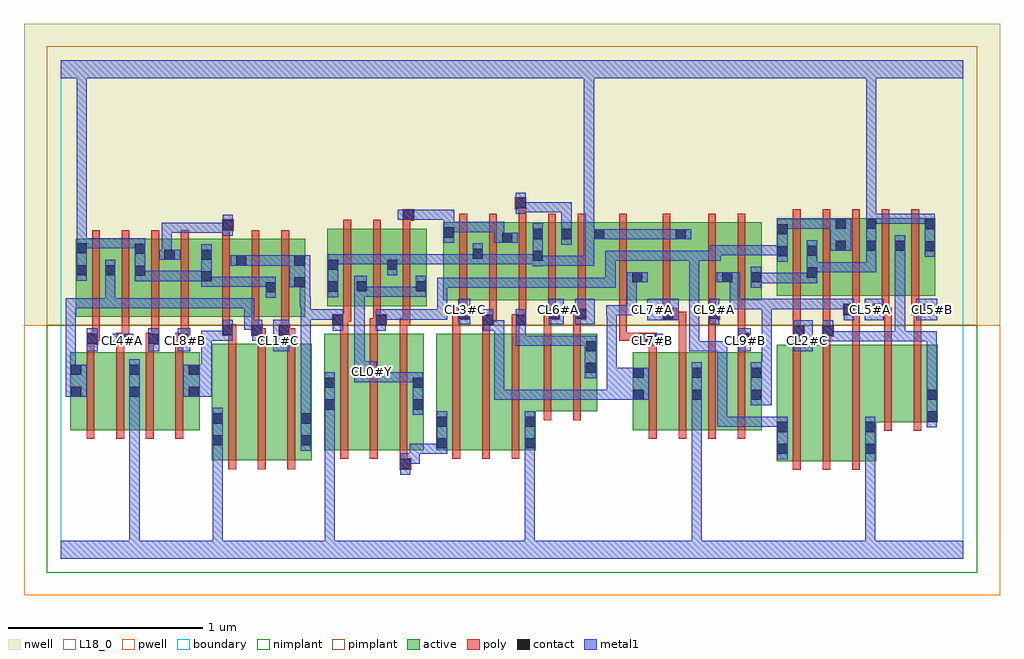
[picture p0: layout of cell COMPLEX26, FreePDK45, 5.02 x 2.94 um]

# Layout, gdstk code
import gdstk
lib = gdstk.Library(unit=1e-6, precision=1e-09)
def R(c, l, rs):  # rectangles x0, y0, x1, y1
    for r in rs: c.add(gdstk.rectangle(r[:2], r[2:], *l))
def A(c, l, x, y, w, h, nx, ny, dx, dy):  # array of equal rectangles
    R(c, l, [(x+i*dx, y+j*dy, x+i*dx+w, y+j*dy+h) for i in range(nx) for j in range(ny)])
active = (1, 0)
pwell = (2, 0)
nwell = (3, 0)
nimplant = (4, 0)
pimplant = (5, 0)
poly = (9, 0)
contact = (10, 0)
metal1 = (11, 0)
L18_0 = (18, 0)
boundary = (235, 0)

complex26 = lib.new_cell('COMPLEX26')
A(complex26, active, 0.226, 1.244, 0.06, 0.4, 3, 1, 0.152, 0)
R(complex26, active, [(3.68,0.5,3.86,1.1), (3.86,0.5,4.012,1.1), (4.012,0.5,4.192,1.1), (0.778,0.504,0.958,1.104), (0.778,0.504,0.838,1.104), (0.958,0.504,1.11,1.104), (1.11,0.504,1.29,1.104), (1.23,0.504,1.29,1.104), (3.68,0.534,3.74,1.1), (4.132,0.534,4.192,1.1), (1.354,0.556,1.534,1.156), (1.354,0.556,1.414,1.156), (1.534,0.556,1.686,1.156), (1.686,0.556,1.866,1.156), (1.806,0.556,1.866,1.156), (1.93,0.556,2.11,1.156), (1.93,0.556,1.99,1.156), (2.11,0.556,2.262,1.156), (2.262,0.556,2.442,1.156), (2.382,0.556,2.442,0.756), (0.05,0.66,0.23,1.06), (0.23,0.66,0.41,1.06), (0.35,0.66,0.534,1.06), (0.534,0.66,0.714,1.06), (2.94,0.66,3.12,1.06), (3.12,0.66,3.3,1.06), (3.24,0.66,3.424,1.06), (3.424,0.66,3.604,1.06), (4.132,0.7,4.328,1.1), (4.328,0.7,4.508,1.1), (4.448,0.7,4.508,1.1), (0.05,0.756,0.11,1.06), (0.35,0.756,0.41,1), (0.654,0.756,0.714,1.06), (2.382,0.756,2.578,1.156), (2.578,0.756,2.758,1.156), (2.698,0.756,2.758,1.156), (2.94,0.756,3,1.06), (3.24,0.756,3.3,0.984), (3.544,0.756,3.604,1.06), (0.078,1.244,0.138,1.644), (0.078,1.244,0.286,1.644), (0.226,1.244,0.438,1.644), (0.378,1.244,0.59,1.644), (0.53,1.244,0.78,1.644), (0.72,1.244,0.78,1.644), (0.72,1.244,0.958,1.644), (0.898,1.244,0.958,1.644), (0.898,1.244,1.11,1.644), (1.05,1.244,1.11,1.644), (1.05,1.244,1.258,1.644), (1.198,1.244,1.258,1.644), (1.37,1.296,1.578,1.696), (1.37,1.296,1.43,1.644), (1.518,1.296,1.734,1.696), (1.518,1.296,1.578,1.644), (1.674,1.296,1.882,1.696), (1.674,1.296,1.734,1.644), (1.822,1.296,1.882,1.644), (1.966,1.328,2.174,1.728), (2.114,1.328,2.326,1.728), (2.114,1.328,2.174,1.644), (2.266,1.328,2.326,1.728), (2.266,1.328,2.482,1.728), (2.422,1.328,2.63,1.728), (2.422,1.328,2.482,1.698), (2.57,1.328,2.63,1.728), (2.57,1.328,2.798,1.728), (2.738,1.328,2.994,1.728), (2.738,1.328,2.798,1.696), (2.934,1.328,2.994,1.644), (2.934,1.328,3.218,1.728), (3.158,1.328,3.218,1.728), (3.158,1.328,3.456,1.728), (3.396,1.328,3.604,1.728), (3.396,1.328,3.456,1.644), (3.544,1.328,3.604,1.728), (3.68,1.35,3.74,1.75), (3.68,1.35,3.892,1.75), (3.832,1.35,4.04,1.75), (3.832,1.35,3.892,1.644), (3.98,1.35,4.04,1.75), (3.98,1.35,4.196,1.75), (4.136,1.35,4.344,1.75), (4.284,1.35,4.344,1.75), (4.284,1.35,4.496,1.75), (4.436,1.35,4.496,1.748), (1.966,1.452,2.026,1.728), (4.136,1.578,4.196,1.75)])
R(complex26, pwell, [(-0.188,-0.188,4.828,1.2)])
R(complex26, nwell, [(-0.188,1.2,4.828,2.748)])
R(complex26, nimplant, [(-0.072,-0.072,4.712,1.2)])
R(complex26, pimplant, [(-0.072,1.2,4.712,2.632)])
A(complex26, poly, 3.764, 0.456, 0.04, 0.688, 3, 1, 0.152, 0)
A(complex26, poly, 0.862, 0.46, 0.04, 0.688, 3, 1, 0.152, 0)
A(complex26, poly, 1.438, 0.512, 0.04, 0.688, 3, 1, 0.152, 0)
A(complex26, poly, 2.014, 0.512, 0.04, 0.688, 3, 1, 0.152, 0)
A(complex26, poly, 0.134, 0.616, 0.04, 0.488, 4, 1, 0.152, 0)
A(complex26, poly, 3.024, 0.616, 0.04, 0.488, 4, 1, 0.152, 0)
A(complex26, poly, 0.134, 1.064, 0.04, 0.076, 4, 1, 0.152, 0)
A(complex26, poly, 0.862, 1.108, 0.04, 0.076, 3, 1, 0.152, 0)
A(complex26, poly, 0.154, 1.12, 0.04, 0.04, 3, 1, 0.156, 0)
A(complex26, poly, 0.162, 1.12, 0.04, 0.12, 4, 1, 0.152, 0)
A(complex26, poly, 1.438, 1.16, 0.04, 0.076, 3, 1, 0.152, 0)
A(complex26, poly, 0.83, 1.164, 0.04, 0.076, 3, 1, 0.152, 0)
A(complex26, poly, 0.162, 1.2, 0.04, 0.488, 4, 1, 0.152, 0)
A(complex26, poly, 0.83, 1.2, 0.04, 0.488, 3, 1, 0.152, 0)
A(complex26, poly, 1.454, 1.252, 0.04, 0.488, 3, 1, 0.152, 0)
A(complex26, poly, 4.068, 1.27, 0.04, 0.076, 3, 1, 0.152, 0)
A(complex26, poly, 2.05, 1.284, 0.04, 0.488, 5, 1, 0.152, 0)
A(complex26, poly, 3.764, 1.306, 0.04, 0.488, 5, 1, 0.152, 0)
R(complex26, poly, [(1.742,0.456,1.802,0.516), (1.742,0.476,1.782,0.552), (4.232,0.656,4.272,1.144), (4.384,0.656,4.424,1.144), (2.482,0.712,2.522,1.2), (2.634,0.712,2.674,1.2), (3.024,1.064,3.064,1.14), (3.176,1.064,3.216,1.268), (3.328,1.064,3.368,1.268), (3.48,1.064,3.52,1.14), (0.134,1.1,0.194,1.16), (0.286,1.1,0.35,1.16), (0.438,1.1,0.506,1.16), (0.59,1.1,0.658,1.16), (2.988,1.1,3.064,1.16), (3.48,1.1,3.54,1.16), (3.764,1.104,3.804,1.18), (3.916,1.104,3.956,1.18), (4.068,1.104,4.108,1.29), (4.232,1.104,4.272,1.29), (4.384,1.104,4.424,1.29), (0.154,1.12,0.202,1.16), (0.31,1.12,0.354,1.16), (0.466,1.12,0.506,1.16), (0.618,1.12,0.658,1.16), (0.618,1.12,0.658,1.16), (2.87,1.12,2.91,1.324), (2.87,1.12,3.028,1.16), (2.988,1.12,3.028,1.16), (3.48,1.12,3.52,1.16), (3.48,1.12,3.52,1.16), (3.48,1.12,3.52,1.324), (3.764,1.14,3.824,1.2), (3.914,1.14,3.974,1.2), (0.83,1.144,0.902,1.204), (0.98,1.144,1.04,1.204), (1,1.144,1.04,1.184), (1,1.144,1.054,1.184), (1.12,1.144,1.18,1.204), (1.14,1.144,1.18,1.184), (1.14,1.144,1.206,1.184), (2.014,1.16,2.054,1.268), (2.166,1.16,2.206,1.236), (2.318,1.16,2.358,1.236), (2.482,1.16,2.522,1.268), (2.634,1.16,2.674,1.268), (3.764,1.16,3.804,1.2), (3.764,1.16,3.804,1.2), (3.764,1.16,3.804,1.346), (3.916,1.16,3.956,1.2), (3.916,1.16,3.956,1.2), (3.916,1.16,3.956,1.346), (0.83,1.164,0.87,1.204), (0.83,1.164,0.87,1.204), (1.396,1.196,1.478,1.256), (1.59,1.196,1.646,1.236), (1.606,1.196,1.646,1.236), (1.606,1.196,1.676,1.256), (1.742,1.196,1.798,1.236), (1.758,1.196,1.798,1.236), (1.758,1.196,1.798,1.236), (1.758,1.196,1.798,1.292), (2.166,1.196,2.228,1.256), (2.318,1.196,2.394,1.256), (1.438,1.216,1.478,1.256), (1.438,1.216,1.494,1.256), (1.454,1.216,1.494,1.292), (1.606,1.216,1.646,1.292), (2.188,1.216,2.228,1.256), (2.188,1.216,2.242,1.256), (2.202,1.216,2.242,1.324), (2.354,1.216,2.394,1.256), (2.354,1.216,2.394,1.256), (2.354,1.216,2.394,1.324), (2.014,1.228,2.1,1.288), (2.482,1.228,2.546,1.268), (2.506,1.228,2.546,1.268), (2.506,1.228,2.566,1.288), (2.634,1.228,2.682,1.268), (2.642,1.228,2.682,1.268), (2.642,1.228,2.702,1.288), (3.094,1.228,3.17,1.288), (3.13,1.228,3.17,1.268), (3.13,1.228,3.216,1.268), (3.328,1.228,3.368,1.268), (3.328,1.228,3.368,1.268), (3.328,1.228,3.39,1.288), (2.05,1.248,2.09,1.324), (2.05,1.248,2.09,1.288), (2.05,1.248,2.09,1.288), (2.506,1.248,2.546,1.324), (2.658,1.248,2.698,1.324), (3.094,1.248,3.134,1.324), (3.328,1.248,3.368,1.324), (4.022,1.25,4.108,1.31), (4.068,1.25,4.108,1.29), (4.068,1.25,4.108,1.29), (4.174,1.25,4.26,1.31), (4.22,1.25,4.26,1.29), (4.22,1.25,4.272,1.29), (4.372,1.25,4.454,1.31), (4.384,1.25,4.424,1.29), (4.384,1.25,4.424,1.29), (2.87,1.284,2.91,1.772), (3.094,1.284,3.134,1.772), (3.328,1.284,3.368,1.772), (3.48,1.284,3.52,1.772), (0.83,1.648,0.87,1.724), (0.83,1.684,0.89,1.744), (1.758,1.7,1.798,1.776), (2.354,1.732,2.394,1.836), (1.758,1.736,1.818,1.796), (2.334,1.796,2.394,1.856)])
A(complex26, contact, 0.138, 1.104, 0.052, 0.052, 3, 1, 0.156, 0)
R(complex26, contact, [(1.746,0.46,1.798,0.512), (3.684,0.538,3.736,0.59), (4.136,0.538,4.188,0.59), (1.934,0.566,1.986,0.618), (2.386,0.566,2.438,0.618), (0.782,0.582,0.834,0.634), (1.234,0.582,1.286,0.634), (3.684,0.65,3.736,0.702), (4.136,0.65,4.188,0.702), (1.934,0.678,1.986,0.73), (2.386,0.678,2.438,0.73), (0.782,0.694,0.834,0.746), (1.234,0.694,1.286,0.746), (4.452,0.704,4.504,0.756), (1.358,0.766,1.41,0.818), (1.81,0.766,1.862,0.818), (2.944,0.816,2.996,0.868), (3.244,0.816,3.296,0.868), (3.548,0.816,3.6,0.868), (4.452,0.816,4.504,0.868), (0.054,0.832,0.106,0.884), (0.354,0.832,0.406,0.884), (0.658,0.832,0.71,0.884), (1.358,0.878,1.41,0.93), (1.81,0.878,1.862,0.93), (2.944,0.928,2.996,0.98), (3.244,0.928,3.296,0.98), (3.548,0.928,3.6,0.98), (0.054,0.944,0.106,0.996), (0.354,0.944,0.406,0.996), (0.658,0.944,0.71,0.996), (2.702,0.954,2.754,1.006), (2.702,1.066,2.754,1.118), (0.602,1.104,0.654,1.156), (3.008,1.104,3.06,1.156), (3.484,1.104,3.536,1.156), (3.768,1.144,3.82,1.196), (3.918,1.144,3.97,1.196), (0.834,1.148,0.886,1.2), (0.984,1.148,1.036,1.2), (1.124,1.148,1.176,1.2), (1.4,1.2,1.452,1.252), (1.62,1.2,1.672,1.252), (2.172,1.2,2.224,1.252), (2.338,1.2,2.39,1.252), (2.044,1.232,2.096,1.284), (2.51,1.232,2.562,1.284), (2.646,1.232,2.698,1.284), (3.098,1.232,3.15,1.284), (3.334,1.232,3.386,1.284), (4.026,1.254,4.078,1.306), (4.178,1.254,4.23,1.306), (4.398,1.254,4.45,1.306), (1.054,1.368,1.106,1.42), (1.374,1.372,1.426,1.424), (1.522,1.374,1.574,1.426), (1.826,1.374,1.878,1.426), (1.202,1.394,1.254,1.446), (2.938,1.42,2.99,1.472), (3.4,1.42,3.452,1.472), (3.548,1.42,3.6,1.472), (0.724,1.424,0.776,1.476), (3.836,1.444,3.888,1.496), (0.382,1.454,0.434,1.506), (0.082,1.456,0.134,1.508), (0.23,1.456,0.282,1.508), (1.374,1.484,1.426,1.536), (1.678,1.484,1.73,1.536), (0.902,1.506,0.954,1.558), (1.202,1.506,1.254,1.558), (2.426,1.53,2.478,1.582), (0.534,1.536,0.586,1.588), (0.724,1.536,0.776,1.588), (2.118,1.54,2.17,1.592), (3.684,1.554,3.736,1.606), (3.836,1.556,3.888,1.608), (0.382,1.566,0.434,1.618), (0.082,1.568,0.134,1.62), (4.44,1.58,4.492,1.632), (3.984,1.582,4.036,1.634), (4.14,1.582,4.192,1.634), (4.288,1.582,4.34,1.634), (2.27,1.622,2.322,1.674), (2.742,1.64,2.794,1.692), (3.162,1.64,3.214,1.692), (2.426,1.642,2.478,1.694), (2.574,1.642,2.626,1.694), (1.97,1.65,2.022,1.702), (3.684,1.666,3.736,1.718), (0.834,1.688,0.886,1.74), (4.44,1.692,4.492,1.744), (3.984,1.694,4.036,1.746), (4.14,1.694,4.192,1.746), (1.762,1.74,1.814,1.792), (2.338,1.8,2.39,1.852)])
A(complex26, metal1, 0.724, 1.396, 0.162, 0.052, 3, 1, 0.11, 0)
R(complex26, metal1, [(0,0,4.64,0.092), (0.354,0.04,0.406,0.856), (0.782,0.04,0.834,0.092), (0.782,0.04,0.834,0.092), (0.782,0.04,0.834,0.092), (0.782,0.04,0.834,0.092), (0.782,0.04,0.834,0.092), (0.782,0.04,0.834,0.092), (0.782,0.04,0.834,0.092), (0.782,0.04,0.834,0.092), (0.782,0.04,0.834,0.606), (1.358,0.04,1.41,0.092), (1.358,0.04,1.41,0.092), (1.358,0.04,1.41,0.092), (1.358,0.04,1.41,0.092), (1.358,0.04,1.41,0.092), (1.358,0.04,1.41,0.092), (1.358,0.04,1.41,0.092), (1.358,0.04,1.41,0.092), (1.358,0.04,1.41,0.79), (2.386,0.04,2.438,0.59), (3.244,0.04,3.296,0.092), (3.244,0.04,3.296,0.092), (3.244,0.04,3.296,0.84), (4.136,0.04,4.188,0.092), (4.136,0.04,4.188,0.092), (4.136,0.04,4.188,0.092), (4.136,0.04,4.188,0.092), (4.136,0.04,4.188,0.092), (4.136,0.04,4.188,0.092), (4.136,0.04,4.188,0.092), (4.136,0.04,4.188,0.092), (4.136,0.04,4.188,0.562), (1.746,0.432,1.798,0.54), (1.746,0.488,1.846,0.54), (1.794,0.488,1.846,0.54), (1.794,0.488,1.846,0.59), (3.684,0.51,3.736,0.73), (4.136,0.51,4.188,0.73), (1.794,0.538,1.846,0.59), (1.794,0.538,1.986,0.59), (1.934,0.538,1.986,0.758), (2.386,0.538,2.438,0.59), (2.386,0.538,2.438,0.59), (2.386,0.538,2.438,0.59), (2.386,0.538,2.438,0.59), (2.386,0.538,2.438,0.59), (2.386,0.538,2.438,0.59), (2.386,0.538,2.438,0.59), (2.386,0.538,2.438,0.59), (2.386,0.538,2.438,0.758), (0.782,0.554,0.834,0.774), (1.234,0.554,1.286,0.774), (4.452,0.676,4.504,0.896), (3.374,0.678,3.426,0.73), (3.374,0.678,3.6,0.73), (3.374,0.678,3.426,1.118), (3.548,0.678,3.6,0.73), (3.548,0.678,3.6,0.73), (3.548,0.678,3.6,0.73), (3.548,0.678,3.736,0.73), (1.234,0.722,1.286,1.28), (1.358,0.738,1.41,0.958), (1.81,0.738,1.862,0.958), (3.244,0.788,3.296,0.84), (3.244,0.788,3.296,0.84), (3.244,0.788,3.296,0.84), (3.244,0.788,3.296,0.84), (3.244,0.788,3.296,0.84), (3.244,0.788,3.296,0.84), (3.244,0.788,3.296,0.84), (3.244,0.788,3.296,0.84), (3.244,0.788,3.296,0.84), (3.244,0.788,3.296,0.84), (3.244,0.788,3.296,1.008), (3.548,0.788,3.656,1.008), (0.354,0.804,0.406,0.856), (0.354,0.804,0.406,0.856), (0.354,0.804,0.406,0.856), (0.354,0.804,0.406,0.856), (0.354,0.804,0.406,0.856), (0.354,0.804,0.406,0.856), (0.354,0.804,0.406,0.856), (0.354,0.804,0.406,0.856), (0.354,0.804,0.406,0.856), (0.354,0.804,0.406,0.856), (0.354,0.804,0.406,0.856), (0.354,0.804,0.406,0.856), (0.354,0.804,0.406,1.024), (2.228,0.816,2.28,0.868), (2.228,0.816,2.39,0.868), (2.228,0.816,2.28,1.224), (2.338,0.816,2.39,0.868), (2.338,0.816,2.39,0.868), (2.338,0.816,2.39,0.868), (2.338,0.816,2.588,0.868), (2.536,0.816,2.588,0.868), (2.536,0.816,2.588,0.868), (2.536,0.816,2.588,0.868), (2.536,0.816,2.588,0.868), (2.536,0.816,2.588,0.868), (2.536,0.816,2.698,0.868), (2.646,0.816,2.698,0.868), (2.646,0.816,2.698,0.868), (2.646,0.816,2.698,0.868), (2.646,0.816,2.858,0.868), (2.806,0.816,3.024,0.98), (0.026,0.832,0.134,0.996), (0.63,0.832,0.776,0.996), (4.452,0.844,4.504,1.168), (1.51,0.906,1.626,1.014), (1.574,0.906,1.626,0.958), (1.574,0.906,1.626,0.958), (1.574,0.906,1.736,0.958), (1.684,0.906,1.736,0.958), (1.684,0.906,1.862,0.958), (1.81,0.906,1.862,0.958), (1.81,0.906,1.862,0.958), (1.81,0.906,1.862,0.958), (1.81,0.906,1.862,0.958), (2.694,0.926,2.754,1.146), (2.806,0.928,2.858,1.302), (0.026,0.944,0.078,1.338), (0.724,0.944,0.776,1.172), (3.604,0.956,3.656,1.008), (3.604,0.956,3.656,1.008), (3.604,0.956,3.656,1.334), (1.51,0.962,1.562,1.014), (1.51,0.962,1.562,1.014), (1.51,0.962,1.562,1.398), (0.134,1.066,0.19,1.184), (0.45,1.066,0.506,1.184), (0.602,1.066,0.666,1.184), (1.094,1.066,1.176,1.228), (3.23,1.066,3.282,1.118), (3.23,1.066,3.426,1.118), (3.23,1.066,3.282,1.582), (3.374,1.066,3.426,1.118), (3.374,1.066,3.426,1.118), (3.374,1.066,3.426,1.118), (3.374,1.066,3.426,1.118), (3.374,1.066,3.426,1.118), (3.484,1.066,3.546,1.184), (3.768,1.066,3.866,1.224), (0.266,1.094,0.374,1.156), (2.338,1.094,2.39,1.224), (2.338,1.094,2.588,1.146), (2.536,1.094,2.588,1.146), (2.536,1.094,2.588,1.146), (2.536,1.094,2.588,1.146), (2.536,1.094,2.698,1.146), (2.646,1.094,2.698,1.146), (2.646,1.094,2.746,1.146), (2.694,1.094,2.746,1.146), (2.694,1.094,2.746,1.146), (2.98,1.094,3.094,1.156), (3.918,1.116,3.97,1.224), (3.918,1.116,4.078,1.168), (4.026,1.116,4.078,1.168), (4.026,1.116,4.078,1.168), (4.026,1.116,4.078,1.168), (4.026,1.116,4.23,1.168), (4.178,1.116,4.23,1.168), (4.178,1.116,4.23,1.168), (4.178,1.116,4.23,1.168), (4.178,1.116,4.34,1.168), (4.288,1.116,4.34,1.168), (4.288,1.116,4.34,1.168), (4.288,1.116,4.34,1.168), (4.288,1.116,4.504,1.168), (4.288,1.116,4.34,1.606), (4.452,1.116,4.504,1.168), (4.452,1.116,4.504,1.168), (4.452,1.116,4.504,1.168), (0.724,1.12,0.776,1.172), (0.724,1.12,0.776,1.172), (0.724,1.12,0.776,1.172), (0.724,1.12,0.886,1.172), (0.834,1.12,0.886,1.228), (0.984,1.12,1.036,1.228), (1.4,1.172,1.452,1.28), (1.62,1.172,1.672,1.28), (2.172,1.172,2.224,1.28), (2.172,1.172,2.28,1.224), (2.228,1.172,2.28,1.224), (2.338,1.172,2.39,1.224), (2.338,1.172,2.39,1.28), (0.944,1.176,0.996,1.338), (0.944,1.176,1.036,1.228), (2.044,1.204,2.106,1.334), (2.51,1.204,2.586,1.334), (2.646,1.204,2.746,1.334), (3.334,1.204,3.386,1.334), (3.014,1.226,3.178,1.334), (4.026,1.226,4.078,1.334), (4.134,1.226,4.23,1.334), (4.398,1.226,4.506,1.334), (1.234,1.228,1.286,1.28), (1.234,1.228,1.286,1.28), (1.234,1.228,1.286,1.28), (1.234,1.228,1.452,1.28), (1.234,1.228,1.286,1.346), (1.4,1.228,1.452,1.28), (1.4,1.228,1.452,1.28), (1.62,1.228,1.736,1.28), (1.684,1.228,1.736,1.28), (1.684,1.228,1.846,1.28), (1.794,1.228,1.846,1.28), (1.794,1.228,1.846,1.28), (1.794,1.228,1.846,1.28), (1.794,1.228,1.988,1.28), (1.936,1.228,1.988,1.444), (2.804,1.25,2.856,1.302), (2.804,1.25,2.856,1.302), (2.804,1.25,2.932,1.302), (2.804,1.25,2.858,1.302), (2.806,1.25,2.858,1.302), (2.806,1.25,2.858,1.302), (2.88,1.25,2.932,1.302), (2.88,1.25,2.962,1.302), (2.91,1.25,2.962,1.302), (2.91,1.25,2.962,1.472), (3.438,1.282,3.49,1.334), (3.438,1.282,3.536,1.334), (3.438,1.282,3.49,1.472), (3.484,1.282,3.536,1.334), (3.484,1.282,3.656,1.334), (3.604,1.282,3.656,1.334), (3.604,1.282,3.778,1.334), (3.726,1.282,3.778,1.334), (3.726,1.282,3.778,1.334), (3.726,1.282,3.778,1.334), (3.726,1.282,3.898,1.334), (3.846,1.282,3.898,1.334), (3.846,1.282,3.898,1.334), (3.846,1.282,3.898,1.334), (3.846,1.282,4.008,1.334), (3.956,1.282,4.008,1.334), (3.956,1.282,4.078,1.334), (0.026,1.286,0.078,1.338), (0.026,1.286,0.078,1.338), (0.026,1.286,0.078,1.338), (0.026,1.286,0.078,1.338), (0.026,1.286,0.078,1.338), (0.026,1.286,0.282,1.338), (0.23,1.286,0.282,1.338), (0.23,1.286,0.282,1.338), (0.23,1.286,0.282,1.338), (0.23,1.286,0.392,1.338), (0.23,1.286,0.282,1.48), (0.34,1.286,0.392,1.338), (0.34,1.286,0.392,1.338), (0.34,1.286,0.392,1.338), (0.34,1.286,0.544,1.338), (0.492,1.286,0.544,1.338), (0.492,1.286,0.544,1.338), (0.492,1.286,0.544,1.338), (0.492,1.286,0.776,1.338), (0.724,1.286,0.776,1.338), (0.724,1.286,0.776,1.338), (0.724,1.286,0.776,1.338), (0.724,1.286,0.886,1.338), (0.834,1.286,0.886,1.338), (0.834,1.286,0.996,1.338), (1.23,1.294,1.282,1.446), (1.23,1.294,1.286,1.346), (1.054,1.34,1.106,1.448), (1.374,1.344,1.426,1.564), (1.51,1.346,1.574,1.454), (1.522,1.346,1.574,1.398), (1.522,1.346,1.574,1.398), (1.522,1.346,1.736,1.398), (1.684,1.346,1.736,1.398), (1.684,1.346,1.876,1.398), (1.824,1.346,1.876,1.398), (1.824,1.346,1.878,1.398), (1.826,1.346,1.878,1.454), (1.936,1.392,2.114,1.444), (2.062,1.392,2.114,1.444), (2.062,1.392,2.17,1.444), (2.118,1.392,2.17,1.444), (2.118,1.392,2.28,1.444), (2.228,1.392,2.28,1.444), (2.228,1.392,2.28,1.444), (2.228,1.392,2.28,1.444), (2.228,1.392,2.28,1.444), (2.228,1.392,2.28,1.444), (2.228,1.392,2.452,1.444), (2.4,1.392,2.452,1.444), (2.4,1.392,2.452,1.444), (2.4,1.392,2.452,1.444), (2.4,1.392,2.588,1.444), (2.536,1.392,2.588,1.444), (2.536,1.392,2.588,1.444), (2.536,1.392,2.588,1.444), (2.536,1.392,2.712,1.444), (2.66,1.392,2.712,1.444), (2.66,1.392,2.808,1.444), (2.756,1.392,2.808,1.444), (2.756,1.392,2.852,1.444), (2.8,1.392,2.852,1.444), (2.8,1.392,2.852,1.582), (3.548,1.392,3.6,1.5), (1.174,1.394,1.282,1.558), (0.724,1.396,0.776,1.448), (0.724,1.396,0.776,1.448), (0.724,1.396,0.776,1.616), (0.834,1.396,0.886,1.448), (0.834,1.396,0.886,1.448), (0.834,1.396,0.886,1.448), (0.944,1.396,0.996,1.448), (3.548,1.416,3.778,1.468), (3.726,1.416,3.778,1.468), (3.726,1.416,3.778,1.468), (3.726,1.416,3.778,1.468), (3.726,1.416,3.888,1.468), (3.836,1.416,3.888,1.636), (2.91,1.42,3.018,1.472), (3.372,1.42,3.49,1.472), (0.382,1.426,0.434,1.478), (0.382,1.426,0.434,1.478), (0.382,1.426,0.434,1.646), (0.382,1.426,0.572,1.478), (0.52,1.426,0.572,1.478), (0.52,1.426,0.572,1.478), (0.52,1.426,0.572,1.478), (0.52,1.426,0.776,1.478), (0.082,1.428,0.134,1.648), (0.23,1.428,0.282,1.536), (1.678,1.456,1.73,1.564), (3.836,1.472,3.888,1.524), (3.836,1.472,3.888,1.524), (3.836,1.472,4.078,1.524), (4.026,1.472,4.078,1.524), (4.026,1.472,4.078,1.524), (4.026,1.472,4.078,1.524), (4.026,1.472,4.192,1.524), (4.14,1.472,4.192,1.524), (4.14,1.472,4.192,1.524), (4.14,1.472,4.192,1.524), (4.14,1.472,4.192,1.606), (2.426,1.502,2.478,1.722), (2.426,1.504,2.588,1.556), (2.536,1.504,2.588,1.556), (2.536,1.504,2.588,1.556), (2.536,1.504,2.588,1.556), (2.536,1.504,2.698,1.556), (2.646,1.504,2.698,1.556), (2.646,1.504,2.742,1.556), (2.69,1.504,2.742,1.556), (2.69,1.504,2.742,1.692), (0.874,1.506,0.982,1.558), (0.93,1.506,0.996,1.558), (0.944,1.506,0.996,1.558), (0.944,1.506,1.106,1.558), (1.054,1.506,1.106,1.558), (1.054,1.506,1.106,1.558), (1.054,1.506,1.106,1.558), (1.054,1.506,1.226,1.558), (1.374,1.512,1.426,1.564), (1.374,1.512,1.426,1.564), (1.374,1.512,1.562,1.564), (1.51,1.512,1.562,1.564), (1.51,1.512,1.562,1.564), (1.51,1.512,1.562,1.564), (1.51,1.512,1.73,1.564), (1.678,1.512,1.846,1.564), (1.794,1.512,1.846,1.564), (1.794,1.512,1.846,1.564), (1.794,1.512,1.846,1.564), (1.794,1.512,2.06,1.564), (2.008,1.512,2.06,1.564), (2.008,1.512,2.06,1.564), (2.008,1.512,2.06,1.564), (2.008,1.512,2.17,1.564), (2.118,1.512,2.17,1.62), (2.118,1.512,2.224,1.564), (2.172,1.512,2.224,1.564), (2.172,1.512,2.28,1.564), (2.228,1.512,2.28,1.564), (2.228,1.512,2.39,1.564), (2.338,1.512,2.39,1.564), (2.338,1.512,2.478,1.564), (3.684,1.526,3.736,1.746), (2.8,1.53,2.852,1.582), (2.8,1.53,2.956,1.582), (2.904,1.53,2.956,1.582), (2.904,1.53,3.076,1.582), (3.024,1.53,3.076,1.582), (3.024,1.53,3.276,1.582), (3.224,1.53,3.276,1.582), (3.224,1.53,3.276,1.582), (3.224,1.53,3.282,1.582), (3.23,1.53,3.282,1.582), (3.23,1.53,3.282,1.582), (3.23,1.53,3.282,1.582), (3.23,1.53,3.282,1.582), (3.23,1.53,3.392,1.582), (3.34,1.53,3.392,1.61), (0.506,1.536,0.614,1.588), (0.52,1.536,0.572,1.726), (4.44,1.552,4.492,1.772), (4.14,1.554,4.192,1.606), (4.14,1.554,4.192,1.606), (4.14,1.554,4.192,1.774), (4.288,1.554,4.34,1.662), (3.34,1.558,3.392,1.61), (3.34,1.558,3.392,1.61), (3.34,1.558,3.536,1.61), (3.484,1.558,3.536,1.61), (3.484,1.558,3.6,1.61), (3.548,1.558,3.6,1.61), (3.548,1.558,3.736,1.61), (3.956,1.582,4.064,1.746), (0.082,1.594,0.134,1.646), (0.082,1.594,0.134,1.646), (0.082,1.594,0.282,1.646), (0.23,1.594,0.282,1.646), (0.23,1.594,0.282,1.646), (0.23,1.594,0.282,1.646), (0.23,1.594,0.434,1.646), (0.382,1.594,0.434,1.646), (0.382,1.594,0.434,1.646), (0.082,1.596,0.134,2.52), (2.574,1.614,2.626,1.722), (1.97,1.622,2.022,1.73), (2.228,1.622,2.28,1.73), (2.228,1.622,2.294,1.674), (2.242,1.622,2.35,1.674), (2.69,1.64,2.742,1.692), (2.69,1.64,2.742,1.692), (2.69,1.64,2.742,1.692), (2.69,1.64,2.742,1.692), (2.69,1.64,2.742,1.692), (2.69,1.64,2.742,1.692), (2.69,1.64,2.742,1.692), (2.69,1.64,2.742,1.692), (2.69,1.64,2.742,1.692), (2.69,1.64,2.742,1.692), (2.69,1.64,2.742,1.692), (2.69,1.64,2.742,1.692), (2.69,1.64,2.742,1.692), (2.69,1.64,2.742,1.692), (2.69,1.64,2.742,1.692), (2.69,1.64,2.742,1.692), (2.69,1.64,2.742,2.52), (2.69,1.64,2.822,1.692), (2.77,1.64,2.822,1.692), (2.77,1.64,2.822,1.692), (2.77,1.64,2.956,1.692), (2.904,1.64,2.956,1.692), (2.904,1.64,3.076,1.692), (3.024,1.64,3.076,1.692), (3.024,1.64,3.186,1.692), (3.134,1.64,3.186,1.692), (3.134,1.64,3.186,1.692), (3.134,1.64,3.242,1.692), (0.834,1.66,0.886,1.768), (2.574,1.67,2.626,1.832), (0.52,1.674,0.572,1.726), (0.52,1.674,0.572,1.726), (0.52,1.674,0.572,1.726), (0.52,1.674,0.776,1.726), (0.724,1.674,0.776,1.726), (0.724,1.674,0.776,1.726), (0.724,1.674,0.776,1.726), (0.724,1.674,0.886,1.726), (1.97,1.678,2.022,1.73), (1.97,1.678,2.022,1.73), (1.97,1.678,2.17,1.73), (1.97,1.678,2.022,1.792), (2.118,1.678,2.17,1.73), (2.118,1.678,2.28,1.73), (3.684,1.694,3.766,1.746), (3.714,1.694,3.766,1.746), (3.714,1.694,3.898,1.746), (3.846,1.694,3.898,1.746), (3.846,1.694,3.898,1.746), (3.846,1.694,3.898,1.746), (3.846,1.694,4.008,1.746), (4.14,1.72,4.192,1.772), (4.14,1.72,4.192,1.772), (4.14,1.72,4.382,1.772), (4.33,1.72,4.382,1.772), (4.33,1.72,4.492,1.772), (4.44,1.72,4.492,1.772), (4.44,1.72,4.492,1.772), (4.14,1.722,4.192,2.52), (1.734,1.74,1.846,1.792), (1.794,1.74,1.846,1.792), (1.794,1.74,1.846,1.792), (1.794,1.74,2.022,1.792), (1.97,1.74,2.022,1.792), (2.338,1.772,2.39,1.88), (2.338,1.78,2.39,1.832), (2.338,1.78,2.39,1.832), (2.338,1.78,2.562,1.832), (2.51,1.78,2.562,1.832), (2.51,1.78,2.626,1.832), (2.574,1.78,2.626,1.832), (0,2.468,4.64,2.56), (0.082,2.468,0.134,2.52), (0.082,2.468,0.134,2.52), (0.082,2.468,0.134,2.52), (0.082,2.468,0.134,2.52), (0.082,2.468,0.134,2.52), (0.082,2.468,0.134,2.52), (0.082,2.468,0.134,2.52), (0.082,2.468,0.134,2.52), (0.082,2.468,0.134,2.52), (0.082,2.468,0.134,2.52), (0.082,2.468,0.134,2.52), (0.082,2.468,0.134,2.52), (0.082,2.468,0.134,2.52), (0.082,2.468,0.134,2.52), (0.082,2.468,0.134,2.52), (0.082,2.468,0.134,2.52), (0.082,2.468,0.134,2.52), (0.082,2.468,0.134,2.52), (0.082,2.468,0.134,2.52), (0.082,2.468,0.134,2.52), (4.14,2.468,4.192,2.52), (4.14,2.468,4.192,2.52), (4.14,2.468,4.192,2.52), (4.14,2.468,4.192,2.52), (4.14,2.468,4.192,2.52), (4.14,2.468,4.192,2.52), (4.14,2.468,4.192,2.52), (4.14,2.468,4.192,2.52), (4.14,2.468,4.192,2.52), (4.14,2.468,4.192,2.52), (4.14,2.468,4.192,2.52), (4.14,2.468,4.192,2.52), (4.14,2.468,4.192,2.52), (4.14,2.468,4.192,2.52), (4.14,2.468,4.192,2.52), (4.14,2.468,4.192,2.52)])
A(complex26, L18_0, 0.134, 1.094, 0.052, 0.052, 4, 1, 0.16, 0)
A(complex26, L18_0, 2.694, 1.254, 0.052, 0.052, 3, 1, 0.32, 0)
A(complex26, L18_0, 0.724, 1.396, 0.162, 0.052, 3, 1, 0.11, 0)
R(complex26, L18_0, [(0,0,4.64,0.092), (0.354,0.04,0.406,0.856), (0.782,0.04,0.834,0.092), (0.782,0.04,0.834,0.092), (0.782,0.04,0.834,0.092), (0.782,0.04,0.834,0.092), (0.782,0.04,0.834,0.092), (0.782,0.04,0.834,0.092), (0.782,0.04,0.834,0.092), (0.782,0.04,0.834,0.092), (0.782,0.04,0.834,0.606), (1.358,0.04,1.41,0.092), (1.358,0.04,1.41,0.092), (1.358,0.04,1.41,0.092), (1.358,0.04,1.41,0.092), (1.358,0.04,1.41,0.092), (1.358,0.04,1.41,0.092), (1.358,0.04,1.41,0.092), (1.358,0.04,1.41,0.092), (1.358,0.04,1.41,0.79), (2.386,0.04,2.438,0.59), (3.244,0.04,3.296,0.092), (3.244,0.04,3.296,0.092), (3.244,0.04,3.296,0.84), (4.136,0.04,4.188,0.092), (4.136,0.04,4.188,0.092), (4.136,0.04,4.188,0.092), (4.136,0.04,4.188,0.092), (4.136,0.04,4.188,0.092), (4.136,0.04,4.188,0.092), (4.136,0.04,4.188,0.092), (4.136,0.04,4.188,0.092), (4.136,0.04,4.188,0.562), (4.136,0.51,4.188,0.73), (2.386,0.538,2.438,0.758), (2.386,0.538,2.438,0.59), (2.386,0.538,2.438,0.59), (2.386,0.538,2.438,0.59), (2.386,0.538,2.438,0.59), (2.386,0.538,2.438,0.59), (2.386,0.538,2.438,0.59), (2.386,0.538,2.438,0.59), (2.386,0.538,2.438,0.59), (0.782,0.554,0.834,0.774), (1.358,0.738,1.41,0.958), (1.81,0.738,1.862,0.958), (3.244,0.788,3.296,1.008), (3.244,0.788,3.296,0.84), (3.244,0.788,3.296,0.84), (3.244,0.788,3.296,0.84), (3.244,0.788,3.296,0.84), (3.244,0.788,3.296,0.84), (3.244,0.788,3.296,0.84), (3.244,0.788,3.296,0.84), (3.244,0.788,3.296,0.84), (3.244,0.788,3.296,0.84), (3.244,0.788,3.296,0.84), (0.354,0.804,0.406,1.024), (0.354,0.804,0.406,0.856), (0.354,0.804,0.406,0.856), (0.354,0.804,0.406,0.856), (0.354,0.804,0.406,0.856), (0.354,0.804,0.406,0.856), (0.354,0.804,0.406,0.856), (0.354,0.804,0.406,0.856), (0.354,0.804,0.406,0.856), (0.354,0.804,0.406,0.856), (0.354,0.804,0.406,0.856), (0.354,0.804,0.406,0.856), (0.354,0.804,0.406,0.856), (1.51,0.906,1.626,1.014), (1.574,0.906,1.626,0.958), (1.574,0.906,1.626,0.958), (1.574,0.906,1.736,0.958), (1.684,0.906,1.736,0.958), (1.684,0.906,1.862,0.958), (1.81,0.906,1.862,0.958), (1.81,0.906,1.862,0.958), (1.81,0.906,1.862,0.958), (1.81,0.906,1.862,0.958), (1.574,0.934,1.626,0.986), (1.51,0.962,1.562,1.014), (1.51,0.962,1.562,1.014), (1.51,0.962,1.562,1.398), (0.134,1.066,0.19,1.184), (0.45,1.066,0.506,1.184), (0.602,1.066,0.666,1.184), (1.094,1.066,1.176,1.228), (3.484,1.066,3.546,1.184), (3.768,1.066,3.866,1.224), (0.266,1.094,0.374,1.156), (1.094,1.094,1.146,1.146), (2.98,1.094,3.094,1.156), (3.014,1.094,3.066,1.146), (3.494,1.094,3.546,1.146), (3.814,1.094,3.866,1.146), (2.044,1.204,2.106,1.334), (2.51,1.204,2.586,1.334), (2.646,1.204,2.746,1.334), (3.334,1.204,3.386,1.334), (3.014,1.226,3.178,1.334), (4.134,1.226,4.23,1.334), (4.398,1.226,4.506,1.334), (2.054,1.254,2.106,1.306), (2.534,1.254,2.586,1.306), (4.134,1.254,4.186,1.306), (4.454,1.254,4.506,1.306), (1.054,1.34,1.106,1.448), (1.374,1.344,1.426,1.564), (1.51,1.346,1.574,1.454), (1.522,1.346,1.574,1.398), (1.522,1.346,1.574,1.398), (1.522,1.346,1.736,1.398), (1.684,1.346,1.736,1.398), (1.684,1.346,1.876,1.398), (1.824,1.346,1.876,1.398), (1.824,1.346,1.878,1.398), (1.826,1.346,1.878,1.454), (3.548,1.392,3.6,1.5), (0.724,1.396,0.776,1.616), (0.724,1.396,0.776,1.448), (0.724,1.396,0.776,1.448), (0.834,1.396,0.886,1.448), (0.834,1.396,0.886,1.448), (0.834,1.396,0.886,1.448), (0.944,1.396,0.996,1.448), (3.548,1.416,3.778,1.468), (3.726,1.416,3.778,1.468), (3.726,1.416,3.778,1.468), (3.726,1.416,3.778,1.468), (3.726,1.416,3.888,1.468), (3.836,1.416,3.888,1.636), (0.382,1.426,0.434,1.646), (0.382,1.426,0.434,1.478), (0.382,1.426,0.434,1.478), (0.382,1.426,0.572,1.478), (0.52,1.426,0.572,1.478), (0.52,1.426,0.572,1.478), (0.52,1.426,0.572,1.478), (0.52,1.426,0.776,1.478), (0.082,1.428,0.134,1.648), (1.678,1.456,1.73,1.564), (3.836,1.472,3.888,1.524), (3.836,1.472,3.888,1.524), (3.836,1.472,4.078,1.524), (4.026,1.472,4.078,1.524), (4.026,1.472,4.078,1.524), (4.026,1.472,4.078,1.524), (4.026,1.472,4.192,1.524), (4.14,1.472,4.192,1.524), (4.14,1.472,4.192,1.524), (4.14,1.472,4.192,1.524), (4.14,1.472,4.192,1.606), (2.426,1.502,2.478,1.722), (2.426,1.504,2.588,1.556), (2.536,1.504,2.588,1.556), (2.536,1.504,2.588,1.556), (2.536,1.504,2.588,1.556), (2.536,1.504,2.698,1.556), (2.646,1.504,2.698,1.556), (2.646,1.504,2.742,1.556), (2.69,1.504,2.742,1.556), (2.69,1.504,2.742,1.692), (1.374,1.512,1.426,1.564), (1.374,1.512,1.426,1.564), (1.374,1.512,1.562,1.564), (1.51,1.512,1.562,1.564), (1.51,1.512,1.562,1.564), (1.51,1.512,1.562,1.564), (1.51,1.512,1.73,1.564), (1.678,1.512,1.846,1.564), (1.794,1.512,1.846,1.564), (1.794,1.512,1.846,1.564), (1.794,1.512,1.846,1.564), (1.794,1.512,2.06,1.564), (2.008,1.512,2.06,1.564), (2.008,1.512,2.06,1.564), (2.008,1.512,2.06,1.564), (2.008,1.512,2.17,1.564), (2.118,1.512,2.17,1.62), (2.118,1.512,2.224,1.564), (2.172,1.512,2.224,1.564), (2.172,1.512,2.28,1.564), (2.228,1.512,2.28,1.564), (2.228,1.512,2.39,1.564), (2.338,1.512,2.39,1.564), (2.338,1.512,2.478,1.564), (4.44,1.552,4.492,1.772), (4.14,1.554,4.192,1.774), (4.14,1.554,4.192,1.606), (4.14,1.554,4.192,1.606), (0.082,1.594,0.134,1.646), (0.082,1.594,0.134,1.646), (0.082,1.594,0.282,1.646), (0.23,1.594,0.282,1.646), (0.23,1.594,0.282,1.646), (0.23,1.594,0.282,1.646), (0.23,1.594,0.434,1.646), (0.382,1.594,0.434,1.646), (0.382,1.594,0.434,1.646), (0.082,1.596,0.134,2.52), (2.69,1.64,2.742,1.692), (2.69,1.64,2.742,1.692), (2.69,1.64,2.742,1.692), (2.69,1.64,2.742,1.692), (2.69,1.64,2.742,1.692), (2.69,1.64,2.742,1.692), (2.69,1.64,2.742,1.692), (2.69,1.64,2.742,1.692), (2.69,1.64,2.742,1.692), (2.69,1.64,2.742,1.692), (2.69,1.64,2.742,1.692), (2.69,1.64,2.742,1.692), (2.69,1.64,2.742,1.692), (2.69,1.64,2.742,1.692), (2.69,1.64,2.742,1.692), (2.69,1.64,2.742,1.692), (2.69,1.64,2.822,1.692), (2.69,1.64,2.742,2.52), (2.77,1.64,2.822,1.692), (2.77,1.64,2.822,1.692), (2.77,1.64,2.956,1.692), (2.904,1.64,2.956,1.692), (2.904,1.64,3.076,1.692), (3.024,1.64,3.076,1.692), (3.024,1.64,3.186,1.692), (3.134,1.64,3.186,1.692), (3.134,1.64,3.186,1.692), (3.134,1.64,3.242,1.692), (4.14,1.72,4.192,1.772), (4.14,1.72,4.192,1.772), (4.14,1.72,4.382,1.772), (4.33,1.72,4.382,1.772), (4.33,1.72,4.492,1.772), (4.44,1.72,4.492,1.772), (4.44,1.72,4.492,1.772), (4.14,1.722,4.192,2.52), (0,2.468,4.64,2.56), (0.082,2.468,0.134,2.52), (0.082,2.468,0.134,2.52), (0.082,2.468,0.134,2.52), (0.082,2.468,0.134,2.52), (0.082,2.468,0.134,2.52), (0.082,2.468,0.134,2.52), (0.082,2.468,0.134,2.52), (0.082,2.468,0.134,2.52), (0.082,2.468,0.134,2.52), (0.082,2.468,0.134,2.52), (0.082,2.468,0.134,2.52), (0.082,2.468,0.134,2.52), (0.082,2.468,0.134,2.52), (0.082,2.468,0.134,2.52), (0.082,2.468,0.134,2.52), (0.082,2.468,0.134,2.52), (0.082,2.468,0.134,2.52), (0.082,2.468,0.134,2.52), (0.082,2.468,0.134,2.52), (0.082,2.468,0.134,2.52), (4.14,2.468,4.192,2.52), (4.14,2.468,4.192,2.52), (4.14,2.468,4.192,2.52), (4.14,2.468,4.192,2.52), (4.14,2.468,4.192,2.52), (4.14,2.468,4.192,2.52), (4.14,2.468,4.192,2.52), (4.14,2.468,4.192,2.52), (4.14,2.468,4.192,2.52), (4.14,2.468,4.192,2.52), (4.14,2.468,4.192,2.52), (4.14,2.468,4.192,2.52), (4.14,2.468,4.192,2.52), (4.14,2.468,4.192,2.52), (4.14,2.468,4.192,2.52), (4.14,2.468,4.192,2.52)])
R(complex26, boundary, [(0,0,4.64,2.56)])
complex26.add(gdstk.Label('CL0#Y', (1.6,0.96), layer=11, texttype=0))
complex26.add(gdstk.Label('CL1#C', (1.12,1.12), layer=11, texttype=0))
complex26.add(gdstk.Label('CL2#C', (3.84,1.12), layer=11, texttype=0))
complex26.add(gdstk.Label('CL3#C', (2.08,1.28), layer=11, texttype=0))
complex26.add(gdstk.Label('CL4#A', (0.32,1.12), layer=11, texttype=0))
complex26.add(gdstk.Label('CL4#B', (0.16,1.12), layer=11, texttype=0))
complex26.add(gdstk.Label('CL5#A', (4.16,1.28), layer=11, texttype=0))
complex26.add(gdstk.Label('CL5#B', (4.48,1.28), layer=11, texttype=0))
complex26.add(gdstk.Label('CL6#A', (2.56,1.28), layer=11, texttype=0))
complex26.add(gdstk.Label('CL6#B', (2.72,1.28), layer=11, texttype=0))
complex26.add(gdstk.Label('CL7#A', (3.04,1.28), layer=11, texttype=0))
complex26.add(gdstk.Label('CL7#B', (3.04,1.12), layer=11, texttype=0))
complex26.add(gdstk.Label('CL8#A', (0.48,1.12), layer=11, texttype=0))
complex26.add(gdstk.Label('CL8#B', (0.64,1.12), layer=11, texttype=0))
complex26.add(gdstk.Label('CL9#A', (3.36,1.28), layer=11, texttype=0))
complex26.add(gdstk.Label('CL9#B', (3.52,1.12), layer=11, texttype=0))

lib.write_gds('COMPLEX26.gds')
